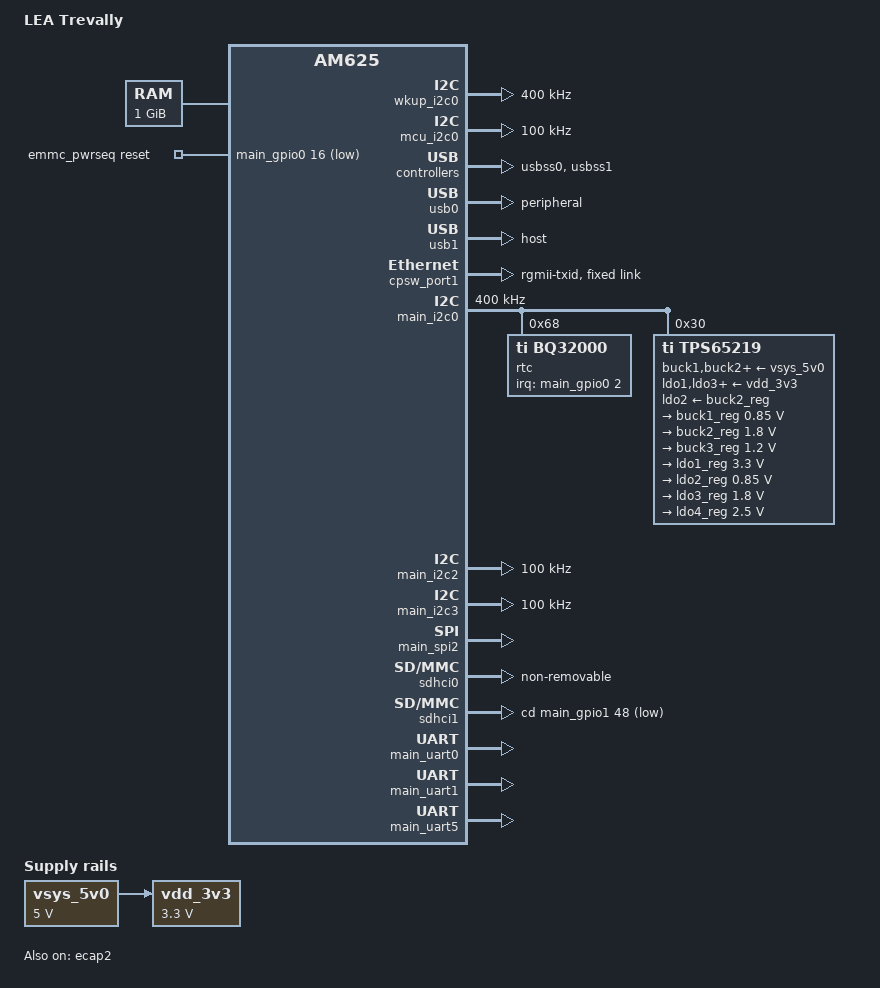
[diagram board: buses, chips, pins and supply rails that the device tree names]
// SPDX-License-Identifier: GPL-2.0-only OR MIT

/dts-v1/;

#include <dt-bindings/leds/common.h>
#include <dt-bindings/gpio/gpio.h>
#include <dt-bindings/input/input.h>
#include "k3-am625.dtsi"
#include "k3-am625-trevally-pinmux.dtsi"

/ {
	compatible = "lea,am625-trevally", "ti,am625";
	model = "LEA Trevally";

	aliases {
		ethernet0 = &cpsw_port1;
		gpio0 = &main_gpio0;
		gpio1 = &main_gpio1;
		gpio2 = &mcu_gpio0;
		i2c0 = &main_i2c0;
		i2c1 = &main_i2c1;
		i2c2 = &main_i2c2;
		i2c3 = &main_i2c3;
		i2c4 = &wkup_i2c0;
		i2c5 = &mcu_i2c0;
		mmc0 = &sdhci0;
		mmc1 = &sdhci1;
		rtc0 = &rtc;
		serial0 = &main_uart5;
		serial1 = &main_uart6;
		serial2 = &main_uart0;
		usb0 = &usb0;
		usb1 = &usb1;
	};

	chosen {
		stdout-path = "serial2:115200n8";
	};

	memory@80000000 {
		bootph-pre-ram;
		device_type = "memory";
		/* 1GB RAM */
		reg = <0x00000000 0x80000000 0x00000000 0x40000000>;
	};

	reserved-memory {
		#address-cells = <2>;
		#size-cells = <2>;
		ranges;

		ramoops: ramoops@9ca00000 {
			compatible = "ramoops";
			reg = <0x00 0x9ca00000 0x00 0x00100000>;
			record-size = <0x8000>;
			console-size = <0x8000>;
			ftrace-size = <0x00>;
			pmsg-size = <0x8000>;
		};

		/* global cma region */
		linux,cma {
			compatible = "shared-dma-pool";
			reusable;
			size = <0x00 0x4000000>; /* 64MB */
			linux,cma-default;
		};

		secure_tfa_ddr: tfa@9e780000 {
			reg = <0x00 0x9e780000 0x00 0x80000>;
			no-map;
		};

		secure_ddr: optee@9e800000 {
			reg = <0x00 0x9e800000 0x00 0x01800000>;
			no-map;
		};

		wkup_r5fss0_core0_dma_memory_region: r5f-dma-memory@9db00000 {
			compatible = "shared-dma-pool";
			reg = <0x00 0x9db00000 0x00 0xc00000>;
			no-map;
		};
	};

	vsys_5v0: regulator-1 {
		bootph-all;
		compatible = "regulator-fixed";
		regulator-name = "vsys_5v0";
		regulator-min-microvolt = <5000000>;
		regulator-max-microvolt = <5000000>;
		regulator-always-on;
		regulator-boot-on;
	};

	vdd_3v3: regulator-2 {
		/* output of TLV62595DMQR-U12 */
		bootph-all;
		compatible = "regulator-fixed";
		regulator-name = "vdd_3v3";
		regulator-min-microvolt = <3300000>;
		regulator-max-microvolt = <3300000>;
		vin-supply = <&vsys_5v0>;
		regulator-always-on;
		regulator-boot-on;
	};

	emmc_pwrseq: emmc-pwrseq {
		compatible = "mmc-pwrseq-emmc";
		reset-gpios = <&main_gpio0 16 GPIO_ACTIVE_LOW>;
	};
  /*
 	leds {
		bootph-all;
		compatible = "gpio-leds";

		led-0 {
			gpios = <&main_gpio1 19 GPIO_ACTIVE_HIGH>;
			linux,default-trigger = "heartbeat";
			function = LED_FUNCTION_HEARTBEAT;
			default-state = "off";
		};

		led-1 {
			gpios = <&main_gpio0 10 GPIO_ACTIVE_HIGH>;
			linux,default-trigger = "disk-activity";
			function = LED_FUNCTION_DISK_ACTIVITY;
			default-state = "off";
		};

		led-2 {
			gpios = <&main_gpio1 18 GPIO_ACTIVE_HIGH>;
			function = LED_FUNCTION_CPU;
		};

		led-3 {
			gpios = <&main_gpio1 16 GPIO_ACTIVE_HIGH>;
			function = LED_FUNCTION_LAN;
		};

	};
	*/

};

&main_pmx0 {
	gpio0_pins_default: gpio0-default-pins {
		bootph-all;
		pinctrl-single,pins = <
			AM62X_IOPAD(0x0008, PIN_INPUT, 7) /* (J24) OSPI0_DQS.GPIO0_2 (RTC_INTn?) */
			AM62X_IOPAD(0x0028, PIN_OUTPUT, 7) /* (J22) SPI1_D1.GPIO0_10 (LED1) */
			AM62X_IOPAD(0x0040, PIN_OUTPUT, 7) /* (N23) GPMC0_AD1.GPIO0_16 (eMMC_RSTn) */
		>;
	};

	gpio1_pins_default: gpio1-default-pins {
		bootph-all;
		pinctrl-single,pins = <
			AM62X_IOPAD(0x01c4, PIN_OUTPUT, 7) /* (B14) SPI0_D1.GPIO1_19 (LED0) */
			AM62X_IOPAD(0x01c0, PIN_OUTPUT, 7) /* (B13) SPI0_D0.GPIO1_18 (LED2) */
			AM62X_IOPAD(0x01b8, PIN_OUTPUT, 7) /* (C13) SPI0_CS1.GPIO1_16 (LED3) */
		>;
	};

	local_i2c_pins_default: local-i2c-default-pins {
		bootph-all;
		pinctrl-single,pins = <
			AM62X_IOPAD(0x01e0, PIN_INPUT_PULLUP, 0) /* (B16) I2C0_SCL */
			AM62X_IOPAD(0x01e4, PIN_INPUT_PULLUP, 0) /* (A16) I2C0_SDA */
		>;
	};

	i2c2_1v8_pins_default: i2c2-default-pins {
		pinctrl-single,pins = <
			AM62X_IOPAD(0x00b0, PIN_INPUT_PULLUP, 1) /* (K22) GPMC0_CSn2.I2C2_SCL */
			AM62X_IOPAD(0x00b4, PIN_INPUT_PULLUP, 1) /* (K24) GPMC0_CSn3.I2C2_SDA */
		>;
	};

	mdio0_pins_default: mdio0-default-pins {
		pinctrl-single,pins = <
			AM62X_IOPAD(0x0160, PIN_OUTPUT, 0) /* (AD24) MDIO0_MDC */
			AM62X_IOPAD(0x015c, PIN_INPUT, 0) /* (AB22) MDIO0_MDIO */
		>;
	};

	rgmii1_pins_default: rgmii1-default-pins {
		pinctrl-single,pins = <
			AM62X_IOPAD(0x014c, PIN_INPUT, 0) /* (AB17) RGMII1_RD0 */
			AM62X_IOPAD(0x0150, PIN_INPUT, 0) /* (AC17) RGMII1_RD1 */
			AM62X_IOPAD(0x0154, PIN_INPUT, 0) /* (AB16) RGMII1_RD2 */
			AM62X_IOPAD(0x0158, PIN_INPUT, 0) /* (AA15) RGMII1_RD3 */
			AM62X_IOPAD(0x0148, PIN_INPUT, 0) /* (AD17) RGMII1_RXC */
			AM62X_IOPAD(0x0144, PIN_INPUT, 0) /* (AE17) RGMII1_RX_CTL */
			AM62X_IOPAD(0x0134, PIN_OUTPUT, 0) /* (AE20) RGMII1_TD0 */
			AM62X_IOPAD(0x0138, PIN_OUTPUT, 0) /* (AD20) RGMII1_TD1 */
			AM62X_IOPAD(0x013c, PIN_OUTPUT, 0) /* (AE18) RGMII1_TD2 */
			AM62X_IOPAD(0x0140, PIN_OUTPUT, 0) /* (AD18) RGMII1_TD3 */
			AM62X_IOPAD(0x0130, PIN_OUTPUT, 0) /* (AE19) RGMII1_TXC */
			AM62X_IOPAD(0x012c, PIN_OUTPUT, 0) /* (AD19) RGMII1_TX_CTL */
		>;
	};

	emmc_pins_default: emmc-default-pins {
		bootph-all;
		pinctrl-single,pins = <
			AM62X_IOPAD(0x0220, PIN_INPUT, 0) /* (Y3) MMC0_CMD */
			AM62X_IOPAD(0x0218, PIN_INPUT, 0) /* (AB1) MMC0_CLK */
			AM62X_IOPAD(0x0214, PIN_INPUT, 0) /* (AA2) MMC0_DAT0 */
			AM62X_IOPAD(0x0210, PIN_INPUT, 0) /* (AA1) MMC0_DAT1 */
			AM62X_IOPAD(0x020c, PIN_INPUT, 0) /* (AA3) MMC0_DAT2 */
			AM62X_IOPAD(0x0208, PIN_INPUT, 0) /* (Y4) MMC0_DAT3 */
			AM62X_IOPAD(0x0204, PIN_INPUT, 0) /* (AB2) MMC0_DAT4 */
			AM62X_IOPAD(0x0200, PIN_INPUT, 0) /* (AC1) MMC0_DAT5 */
			AM62X_IOPAD(0x01fc, PIN_INPUT, 0) /* (AD2) MMC0_DAT6 */
			AM62X_IOPAD(0x01f8, PIN_INPUT, 0) /* (AC2) MMC0_DAT7 */
		>;
	};

	sd_pins_default: sd-default-pins {
		bootph-all;
		pinctrl-single,pins = <
			AM62X_IOPAD(0x023c, PIN_INPUT, 0) /* (A21) MMC1_CMD */
			AM62X_IOPAD(0x0234, PIN_INPUT, 0) /* (B22) MMC1_CLK */
			AM62X_IOPAD(0x0230, PIN_INPUT, 0) /* (A22) MMC1_DAT0 */
			AM62X_IOPAD(0x022c, PIN_INPUT, 0) /* (B21) MMC1_DAT1 */
			AM62X_IOPAD(0x0228, PIN_INPUT, 0) /* (C21) MMC1_DAT2 */
			AM62X_IOPAD(0x0224, PIN_INPUT, 0) /* (D22) MMC1_DAT3 */
			AM62X_IOPAD(0x0240, PIN_INPUT, 7) /* (D17) MMC1_SDCD.GPIO1_48 */
		>;
	};

	mikrobus_i2c_pins_default: mikrobus-i2c-default-pins {
		pinctrl-single,pins = <
			AM62X_IOPAD(0x01d0, PIN_INPUT_PULLUP, 2) /* (A15) UART0_CTSn.I2C3_SCL */
			AM62X_IOPAD(0x01d4, PIN_INPUT_PULLUP, 2) /* (B15) UART0_RTSn.I2C3_SDA */
		>;
	};

	mikrobus_uart_pins_default: mikrobus-uart-default-pins {
		pinctrl-single,pins = <
			AM62X_IOPAD(0x01d8, PIN_INPUT, 1) /* (C15) MCAN0_TX.UART5_RXD */
			AM62X_IOPAD(0x01dc, PIN_OUTPUT, 1) /* (E15) MCAN0_RX.UART5_TXD */
		>;
	};

	mikrobus_spi_pins_default: mikrobus-spi-default-pins {
		pinctrl-single,pins = <
			AM62X_IOPAD(0x01b0, PIN_INPUT, 1) /* (A20) MCASP0_ACLKR.SPI2_CLK */
			AM62X_IOPAD(0x01ac, PIN_INPUT, 1) /* (E19) MCASP0_AFSR.SPI2_CS0 */
			AM62X_IOPAD(0x0194, PIN_INPUT, 1) /* (B19) MCASP0_AXR3.SPI2_D0 */
			AM62X_IOPAD(0x0198, PIN_INPUT, 1) /* (A19) MCASP0_AXR2.SPI2_D1 */
		>;
	};

	mikrobus_gpio_pins_default: mikrobus-gpio-default-pins {
		bootph-all;
		pinctrl-single,pins = <
			AM62X_IOPAD(0x019c, PIN_INPUT, 7) /* (B18) MCASP0_AXR1.GPIO1_9 */
			AM62X_IOPAD(0x01a0, PIN_INPUT, 7) /* (E18) MCASP0_AXR0.GPIO1_10 */
			AM62X_IOPAD(0x01a8, PIN_INPUT, 7) /* (D20) MCASP0_AFSX.GPIO1_12 */
		>;
	};

	mikrobus_pwm_pins_default: mikrobus-pwm-default-pins {
		pinctrl-single,pins = <
			AM62X_IOPAD(0x01a4, PIN_INPUT, 2) /* (B20) MCASP0_ACLKX.ECAP2_IN_APWM_OUT */
		>;
	};

	main_uart0_pins_default: main-uart0-default-pins {
		bootph-all;
		pinctrl-single,pins = <
			AM62X_IOPAD(0x01c8, PIN_INPUT, 0) /* (D14) UART0_RXD */
			AM62X_IOPAD(0x01cc, PIN_OUTPUT, 0) /* (E14) UART0_TXD */
		>;
	};

	main_uart1_pins_default: main-uart1-default-pins {
		bootph-all;
		pinctrl-single,pins = <
			AM62X_IOPAD(0x01e8, PIN_INPUT, 1) /* (B17) UART1_RXD */
			AM62X_IOPAD(0x01ec, PIN_OUTPUT, 1) /* (A17) UART1_TXD */
		>;
	};

	usb1_pins_default: usb1-default-pins {
		pinctrl-single,pins = <
			AM62X_IOPAD(0x0258, PIN_INPUT, 0) /* (F18) USB1_DRVVBUS */
		>;
	};

	pmic_irq_pins_default: pmic-irq-default-pins {
		pinctrl-single,pins = <
			AM62X_IOPAD(0x01f4, PIN_INPUT_PULLUP, 0) /* (D16) EXTINTn */
		>;
	};

};

&mcu_pmx0 {
	i2c_qwiic_pins_default: i2c-qwiic-default-pins {
		pinctrl-single,pins = <
			AM62X_MCU_IOPAD(0x0044, PIN_INPUT, 0) /* (A8) MCU_I2C0_SCL */
			AM62X_MCU_IOPAD(0x0048, PIN_INPUT, 0) /* (D10) MCU_I2C0_SDA */
		>;
	};

	gbe_pmx_obsclk: gbe-pmx-obsclk-default-pins {
		pinctrl-single,pins = <
			AM62X_MCU_IOPAD(0x0004, PIN_OUTPUT, 1) /* (B8) MCU_SPI0_CS1.MCU_OBSCLK0 */
		>;
	};

	i2c_csi_pins_default: i2c-csi-default-pins {
		pinctrl-single,pins = <
			AM62X_MCU_IOPAD(0x004c, PIN_INPUT_PULLUP, 0) /* (B9) WKUP_I2C0_SCL */
			AM62X_MCU_IOPAD(0x0050, PIN_INPUT_PULLUP, 0) /* (A9) WKUP_I2C0_SDA */
		>;
	};

	//wifi_32k_clk: mcu-clk-out-default-pins {
	//	pinctrl-single,pins = <
	//		AM62X_MCU_IOPAD(0x0084, PIN_OUTPUT, 0) /* (A12) WKUP_CLKOUT0 */
	//	>;
	//};
};

&a53_opp_table {
	/* Requires VDD_CORE to be at 0.85V */
	opp-1400000000 {
		opp-hz = /bits/ 64 <1400000000>;
		opp-supported-hw = <0x01 0x0004>;
	};
};

&wkup_i2c0 {
	pinctrl-names = "default";
	pinctrl-0 = <&i2c_csi_pins_default>;
	clock-frequency = <400000>;
	/* Enable with overlay for camera sensor */
};

&mcu_i2c0 {
	pinctrl-names = "default";
	pinctrl-0 = <&i2c_qwiic_pins_default>;
	clock-frequency = <100000>;
	status = "okay";
};

&usbss0 {
	bootph-all;
	ti,vbus-divider;
	status = "okay";
};

&usb0 {
	bootph-all;
	dr_mode = "peripheral";
};

&usbss1 {
	ti,vbus-divider;
	status = "okay";
};

&usb1 {
	dr_mode = "host";
	pinctrl-names = "default";
	pinctrl-0 = <&usb1_pins_default>;
};

&cpsw3g {
	pinctrl-names = "default";
	pinctrl-0 = <&rgmii1_pins_default>, <&gbe_pmx_obsclk>;
	assigned-clocks = <&k3_clks 157 70>, <&k3_clks 157 20>;
	assigned-clock-parents = <&k3_clks 157 72>, <&k3_clks 157 22>;
};

&cpsw_port1 {
	phy-mode = "rgmii-txid";
	fixed-link {
		speed = <1000>;
		full-duplex;
	};
};

&cpsw_port2 {
	status = "disabled";
};

&main_gpio0 {
	bootph-all;
	pinctrl-names = "default";
	pinctrl-0 = <&gpio0_pins_default>;
};

&main_gpio1 {
	bootph-all;
	pinctrl-names = "default";
	pinctrl-0 = <&gpio1_pins_default>;
};

&main_i2c0 {
	bootph-all;
	pinctrl-names = "default";
	pinctrl-0 = <&local_i2c_pins_default>;
	clock-frequency = <400000>;
	status = "okay";

	rtc: rtc@68 {
		compatible = "ti,bq32000";
		reg = <0x68>;
		interrupt-parent = <&main_gpio0>;
		interrupts = <2 IRQ_TYPE_EDGE_FALLING>;
		status = "okay";
	};

	tps65219: pmic@30 {
		bootph-all;
		compatible = "ti,tps65219";
		reg = <0x30>;
		buck1-supply = <&vsys_5v0>;
		buck2-supply = <&vsys_5v0>;
		buck3-supply = <&vsys_5v0>;
		ldo1-supply = <&vdd_3v3>;
		ldo2-supply = <&buck2_reg>;
		ldo3-supply = <&vdd_3v3>;
		ldo4-supply = <&vdd_3v3>;

		pinctrl-names = "default";
		pinctrl-0 = <&pmic_irq_pins_default>;
		interrupt-parent = <&gic500>;
		interrupts = <GIC_SPI 224 IRQ_TYPE_LEVEL_HIGH>;
		interrupt-controller;
		#interrupt-cells = <1>;

		system-power-controller;
		ti,power-button;

		regulators {
			buck1_reg: buck1 {
				regulator-name = "VDD_CORE";
				regulator-min-microvolt = <850000>;
				regulator-max-microvolt = <850000>;
				regulator-boot-on;
				regulator-always-on;
			};

			buck2_reg: buck2 {
				regulator-name = "VDD_1V8";
				regulator-min-microvolt = <1800000>;
				regulator-max-microvolt = <1800000>;
				regulator-boot-on;
				regulator-always-on;
			};

			buck3_reg: buck3 {
				regulator-name = "VDD_1V2";
				regulator-min-microvolt = <1200000>;
				regulator-max-microvolt = <1200000>;
				regulator-boot-on;
				regulator-always-on;
			};

			ldo1_reg: ldo1 {
				/*
				 * Regulator is left as is unused, vdd_sd
				 * is controlled via GPIO with bypass config
				 * as per the NVM configuration
				 */
				regulator-name = "VDD_SD_3V3";
				regulator-min-microvolt = <3300000>;
				regulator-max-microvolt = <3300000>;
				regulator-allow-bypass;
				regulator-boot-on;
				regulator-always-on;
			};

			ldo2_reg: ldo2 {
				regulator-name = "VDDA_0V85";
				regulator-min-microvolt = <850000>;
				regulator-max-microvolt = <850000>;
				regulator-boot-on;
				regulator-always-on;
			};

			ldo3_reg: ldo3 {
				regulator-name = "VDDA_1V8";
				regulator-min-microvolt = <1800000>;
				regulator-max-microvolt = <1800000>;
				regulator-boot-on;
				regulator-always-on;
			};

			ldo4_reg: ldo4 {
				regulator-name = "VDD_2V5";
				regulator-min-microvolt = <2500000>;
				regulator-max-microvolt = <2500000>;
				regulator-boot-on;
				regulator-always-on;
			};
		};
	};
};

&main_i2c1 {
	status = "disabled";
};

&main_i2c2 {
	pinctrl-names = "default";
	pinctrl-0 = <&i2c2_1v8_pins_default>;
	clock-frequency = <100000>;
	symlink = "bone/i2c/2";
	status = "okay";
};

&main_i2c3 {
	pinctrl-names = "default";
	pinctrl-0 = <&mikrobus_i2c_pins_default>;
	clock-frequency = <100000>;
	symlink = "bone/i2c/3";
	status = "okay";
};

&main_spi2 {
	pinctrl-names = "default";
	pinctrl-0 = <&mikrobus_spi_pins_default>;
	status = "okay";
};

&sdhci0 {
	bootph-all;
	pinctrl-names = "default";
	pinctrl-0 = <&emmc_pins_default>;
	disable-wp;
	non-removable;
	mmc-pwrseq = <&emmc_pwrseq>;
	status = "okay";
};

&sdhci1 {
	/* SD/MMC */
	bootph-all;
	pinctrl-names = "default";
	pinctrl-0 = <&sd_pins_default>;

	 /* Hardwired to 3.3V */
	/delete-property/ vmmc-supply;
	/delete-property/ vqmmc-supply;
	disable-wp;
	cd-gpios = <&main_gpio1 48 GPIO_ACTIVE_LOW>;
	cd-debounce-delay-ms = <100>;
	ti,fails-without-test-cd;
	status = "okay";
	/* long flat-flex cable prevents high speed operation */
	max-frequency = <50000000>;      /* Limit the bus to 50 MHz max */
	no-1-8-v;                         /* Keeps the IO voltage strictly at 3.3V */
	/delete-property/ sdr104-supported;
	/delete-property/ sdr50-supported;
};

//&sdhci2 {
//	pinctrl-names = "default";
//	pinctrl-0 = <&wifi_pins_default>, <&wifi_32k_clk>;
//	non-removable;
//	ti,fails-without-test-cd;
//	cap-power-off-card;
//	keep-power-in-suspend;
//	mmc-pwrseq = <&sdio_pwrseq>;
//	assigned-clocks = <&k3_clks 157 158>;
//	assigned-clock-parents = <&k3_clks 157 160>;
//	#address-cells = <1>;
//	#size-cells = <0>;
//	status = "disabled";
//};

&main_uart0 {
	bootph-all;
	pinctrl-names = "default";
	pinctrl-0 = <&main_uart0_pins_default>;
	status = "okay";
};

&main_uart1 {
	pinctrl-names = "default";
	pinctrl-0 = <&main_uart1_pins_default>;
	status = "okay";
};

&main_uart5 {
	pinctrl-names = "default";
	pinctrl-0 = <&mikrobus_uart_pins_default>;
	status = "okay";
};

&ecap2 {
	status = "okay";
	pinctrl-names = "default";
	pinctrl-0 = <&mikrobus_pwm_pins_default>;
};
